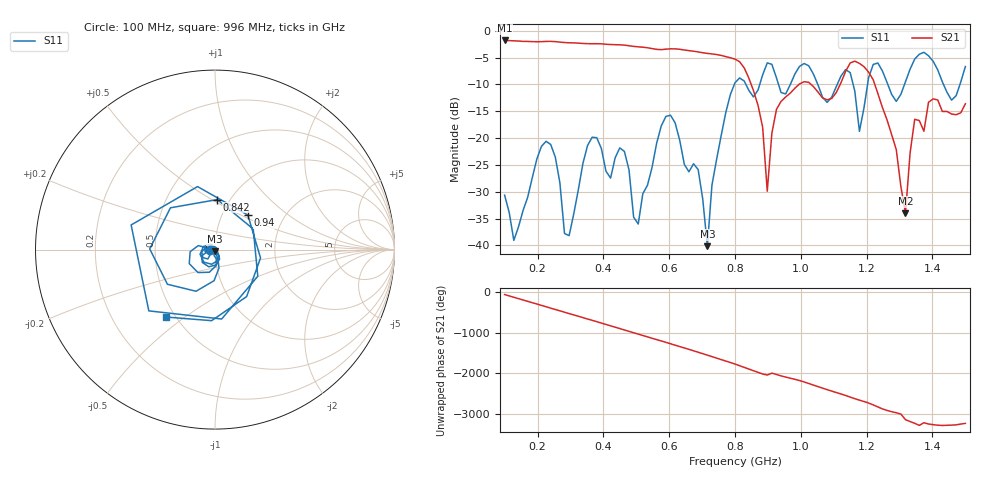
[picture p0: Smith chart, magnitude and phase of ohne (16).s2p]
! NanoVNA-App
! Date: 2025-09-25 14:20:55
! Start: 100MHz Stop: 1,5GHz Points: 101
! S-Parameter data: F S11 S21 S12 S22
# Hz S RI R 50
!  Frequency  S11_Real  S11_Imag  S21_Real  S21_Imag  S12_Real  S12_Imag  S22_Real  S22_Imag
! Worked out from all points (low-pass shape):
!   101 points, 100 MHz to 1.5 GHz, reference 50 ohm
!   highest |S21| = -1.79 dB at 100 MHz (marker M1); lowest = -34.0 dB at 1.318 GHz (marker M2)
!   |S21| within 3 dB of the highest: start of sweep to 770.7 MHz
!   lowest |S11| = -40.2 dB at 716 MHz (marker M3), VSWR 1.02, Z = 49.8 - j0.964 ohm
!   |S11| at or under -10 dB: start of sweep to 798 MHz; 833.2 MHz to 875.1 MHz (41.93 MHz wide, 4.91 % of centre); 1.052 GHz to 1.111 GHz (58.98 MHz wide, 5.46 % of centre) (the widest 3 of 7)
!   S12 and S22 are empty: the file has one direction only
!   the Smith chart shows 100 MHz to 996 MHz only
!   S11 on the Smith chart (normalised r, x): 100 MHz: 0.94, -0.01; 842 MHz: 0.88, +0.53; 940 MHz: 1.32, +0.55; 996 MHz: 0.44, -0.42
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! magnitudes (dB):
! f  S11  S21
! 100 MHz  -30.6  -1.8
! 128 MHz  -39.1  -1.9
! 226 MHz  -20.6  -2.0
! 296 MHz  -38.2  -2.2
! 338 MHz  -24.7  -2.4
! 464 MHz  -22.5  -2.7
! 506 MHz  -36.0  -3.0
! 576 MHz  -17.7  -3.5
! 688 MHz  -25.9  -3.9
! 716 MHz  -40.2  -4.2
! 800 MHz  -9.7  -5.3
! 842 MHz  -11.1  -8.8
! 898 MHz  -6.0  -29.9
! 940 MHz  -11.5  -13.2
! 996 MHz  -6.6  -9.9
! 1.038 GHz  -8.0  -10.4
! 1.178 GHz  -18.7  -6.1
! 1.22 GHz  -6.3  -9.1
! 1.276 GHz  -11.9  -19.4
! 1.318 GHz  -9.5  -34.0
! 1.346 GHz  -5.3  -16.5
! 1.5 GHz  -6.7  -13.6
